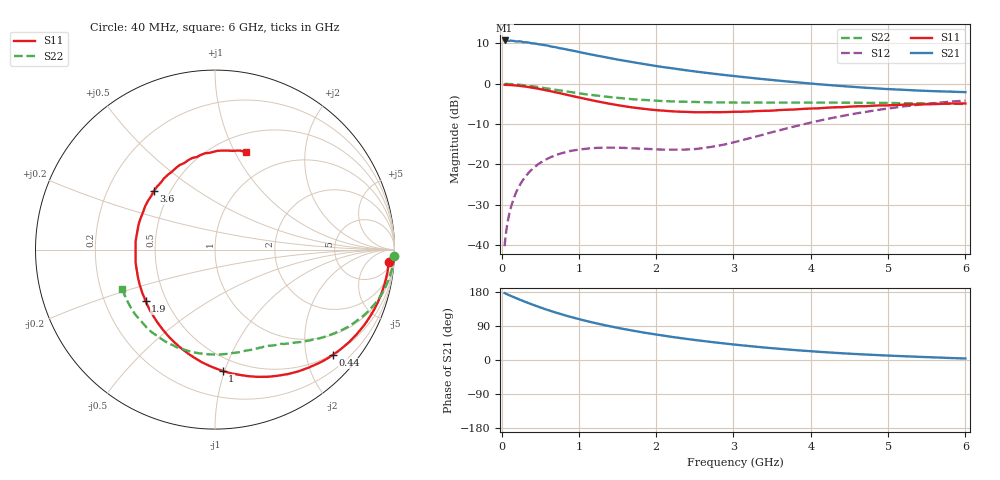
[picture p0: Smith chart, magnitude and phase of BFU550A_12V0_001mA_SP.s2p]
! Filename:  P:\Prog\Test\Noise\ATS_data\Testdata_Net\03 Spar\BFU550A_APG2013_35_C05_12p0V_001mA_SP_CM01_D.s2p
! Date/Time: Tue 16/Apr/2013 15:10:19
! BFU550A_APG2013_35_C05_12p0V_1to35mA_SP_CM01_Bias1_R.s2p
! MDIF S-parameter v. bias file
! BFU550A_APG2013_35_C05_12p0V_1to35mA_SP_CM01
! Date/time Mon Apr 15 17:55:46 2013
! bias mode 1
! bias variable = I_out
! VAR bias_var= 1
! VAR V_out= 12.0010
! VAR I_out= 1.0000
! VAR V_in= 0.7782
! VAR I_in= 0.0076
! Device data file deembeded for feedlines and parallel
! Original file: \03 Spar\BFU550A_APG2013_35_C05_12p0V_001mA_SP_CM01_R.s2p
! Feed-files: PR017V01_150413_Feed1.s2p, PR017V01_150413_Feed2.s2p
! Parallel-file: PR017V01_150413_Par.s2p
# MHz S MA R 50
!  Freq-MHz  S11-mag  S11-arg  S21-mag  S21-arg  S12-mag  S12-arg  S22-mag  S22-arg
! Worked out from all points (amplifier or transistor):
!   98 points, 40 MHz to 6 GHz, reference 50 ohm
!   highest |S21| = 10.8 dB at 40 MHz (marker M1)
!   |S21| within 3 dB of that: start of sweep to 1.035 GHz
!   unconditionally stable (mu >= 1): 2.347 GHz to 2.954 GHz
!   at 300 MHz: K = 0.14, MSG = 16.8 dB, |S12| = -23.3 dB
!   at 1.6 GHz: K = 0.69, MSG = 10.8 dB, |S12| = -15.9 dB
!   at 6 GHz: K = 0.89, MSG = 1.0 dB, |S12| = -4.2 dB
!   S11 on the Smith chart (normalised r, x): 40 MHz: 10, -25; 440 MHz: 0.49, -2.54; 1 GHz: 0.39, -0.98; 1.9 GHz: 0.38, -0.29; 3.6 GHz: 0.41, +0.34; 6 GHz: 0.69, +1.11
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40  0.9721 -4.0  3.447 176.8  0.009666 87.0  0.9978 -1.9
60  0.9694 -5.9  3.422 174.2  0.01462 85.4  0.9972 -3.3
90  0.9672 -8.8  3.399 171.6  0.02178 83.7  0.9938 -4.8
120  0.9635 -11.8  3.432 169.1  0.02892 81.9  0.9916 -6.5
160  0.9577 -15.7  3.397 165.7  0.0383 79.3  0.9862 -8.5
320  0.9192 -30.9  3.278 152.5  0.07262 70.0  0.9522 -16.6
440  0.8807 -41.8  3.147 143.2  0.09468 63.6  0.92 -21.9
600  0.8218 -55.7  2.974 131.9  0.1183 56.1  0.8713 -28.3
700  0.7839 -63.8  2.844 125.3  0.1298 52.0  0.8421 -31.8
850  0.728 -75.5  2.655 116.2  0.1434 46.7  0.8001 -36.3
1000  0.6771 -86.4  2.484 108.0  0.1526 42.3  0.7629 -40.4
1050  0.6607 -90.0  2.423 105.4  0.1546 41.1  0.7499 -41.6
1250  0.6022 -103.6  2.219 95.7  0.1607 36.9  0.7114 -46.1
1450  0.5542 -116.5  2.041 87.0  0.1613 34.3  0.677 -50.1
1900  0.4819 -143.4  1.721 70.4  0.1552 34.3  0.6254 -58.5
2050  0.4667 -151.9  1.633 65.7  0.153 36.2  0.6128 -61.0
2500  0.4437 -175.7  1.424 52.8  0.1548 46.0  0.5954 -69.4
3100  0.45 156.0  1.221 38.9  0.1982 60.3  0.5845 -81.8
3600  0.4723 136.2  1.09 29.4  0.2655 63.9  0.5844 -93.3
4100  0.4963 118.8  0.9878 21.7  0.3468 61.2  0.5833 -106.0
5200  0.5507 88.6  0.8417 10.0  0.5235 46.4  0.5734 -135.2
6000  0.5696 72.2  0.7872 4.0  0.619 33.4  0.5614 -157.2
